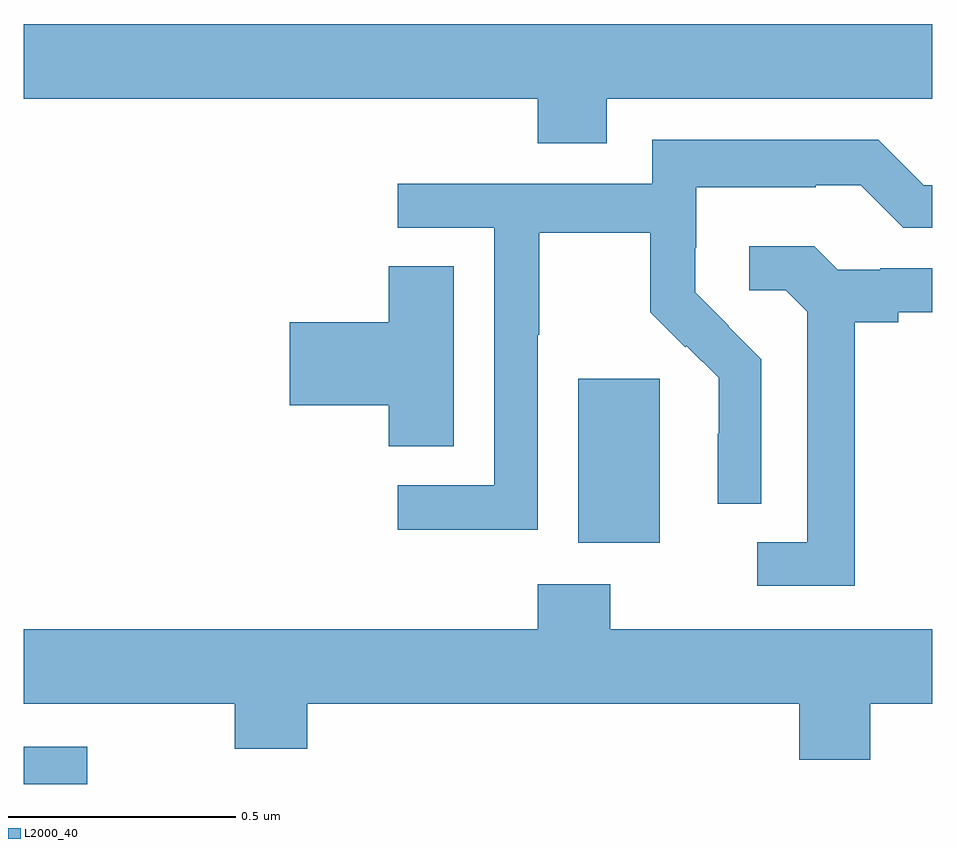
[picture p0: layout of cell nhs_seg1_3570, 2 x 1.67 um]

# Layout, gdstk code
import gdstk
lib = gdstk.Library(unit=1e-6, precision=1e-09)
def R(c, l, rs):  # rectangles x0, y0, x1, y1
    for r in rs: c.add(gdstk.rectangle(r[:2], r[2:], *l))
def P(c, l, *ps):  # polygons
    for p in ps: c.add(gdstk.Polygon(p, *l))
L2000_40 = (2000, 40)

nhs_seg1_3570 = lib.new_cell('nhs_seg1_3570')
R(nhs_seg1_3570, L2000_40, [(155,574.199,155.14,574.281), (156.221,574.73,156.4,575.091)])
P(nhs_seg1_3570, L2000_40, [(156.283,575.708),(157,575.708),(157,575.872),(155,575.872),(155,575.708),(156.131,575.708),(156.131,575.609),(156.283,575.609)],
  [(156.132,575.188),(156.135,575.188),(156.135,575.412),(156.379,575.412),(156.379,575.237),(156.456,575.16),(156.459,575.163),(156.53,575.093),(156.53,574.97),(156.528,574.97),(156.528,574.816),(156.624,574.816),(156.624,575.134),(156.551,575.207),(156.552,575.208),(156.478,575.282),(156.478,575.379),(156.48,575.379),(156.48,575.513),(156.743,575.513),(156.743,575.517),(156.843,575.517),(156.936,575.424),(157,575.424),(157,575.517),(156.981,575.517),(156.881,575.617),(156.384,575.617),(156.384,575.52),(155.823,575.52),(155.823,575.424),(156.036,575.424),(156.036,574.857),(155.823,574.857),(155.823,574.759),(156.132,574.759)],
  [(156.829,575.216),(156.925,575.216),(156.925,575.238),(157,575.238),(157,575.334),(156.886,575.334),(156.886,575.331),(156.792,575.331),(156.74,575.383),(156.597,575.383),(156.597,575.286),(156.678,575.286),(156.725,575.239),(156.725,574.731),(156.615,574.731),(156.615,574.635),(156.829,574.635)],
  [(155.947,575.339),(155.804,575.339),(155.804,575.216),(155.586,575.216),(155.586,575.033),(155.804,575.033),(155.804,574.942),(155.947,574.942)],
  [(156.863,574.376),(157,574.376),(157,574.54),(156.291,574.54),(156.291,574.639),(156.131,574.639),(156.131,574.54),(155,574.54),(155,574.376),(155.464,574.376),(155.464,574.277),(155.624,574.277),(155.624,574.376),(156.707,574.376),(156.707,574.252),(156.863,574.252)])

lib.write_gds('nhs_seg1_3570.gds')
